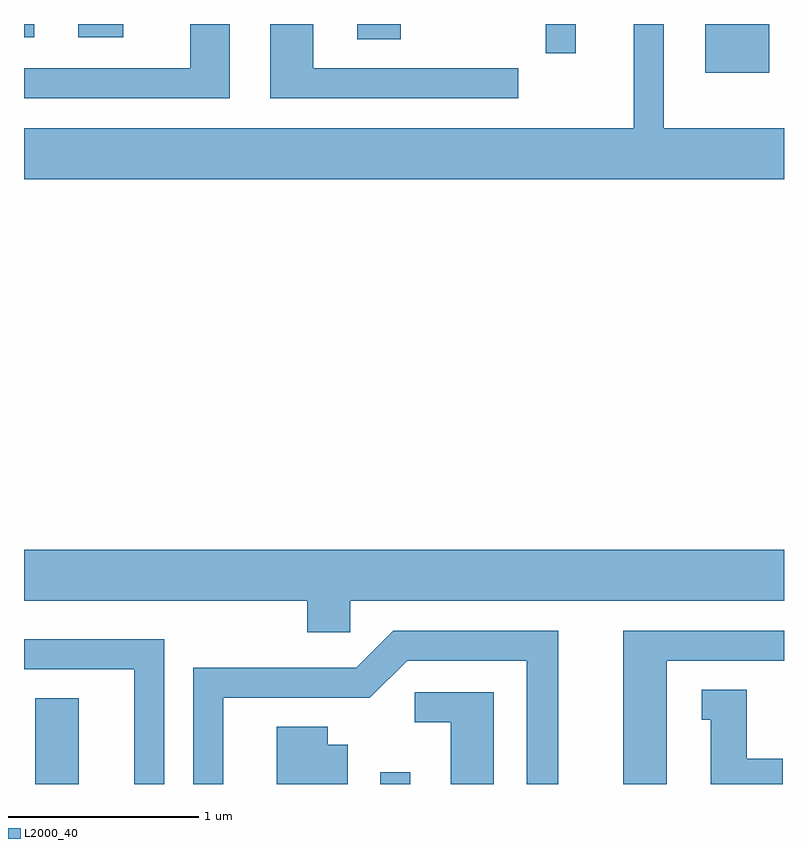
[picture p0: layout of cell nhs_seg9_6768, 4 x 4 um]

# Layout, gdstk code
import gdstk
lib = gdstk.Library(unit=1e-6, precision=1e-09)
def R(c, l, rs):  # rectangles x0, y0, x1, y1
    for r in rs: c.add(gdstk.rectangle(r[:2], r[2:], *l))
def P(c, l, *ps):  # polygons
    for p in ps: c.add(gdstk.Polygon(p, *l))
L2000_40 = (2000, 40)

nhs_seg9_6768 = lib.new_cell('nhs_seg9_6768')
R(nhs_seg9_6768, L2000_40, [(385.671,1966.432,385.899,1966.884), (387.486,1966.432,387.644,1966.493), (389.196,1970.176,389.534,1970.432), (387.366,1970.351,387.594,1970.432), (385.611,1970.361,385.664,1970.432), (385.896,1970.361,386.133,1970.432)])
P(nhs_seg9_6768, L2000_40, [(386.694,1970.432),(386.486,1970.432),(386.486,1970.199),(385.611,1970.199),(385.611,1970.041),(386.694,1970.041)],
  [(388.514,1970.432),(387.746,1970.432),(387.746,1970.431),(388.356,1970.431),(388.356,1970.278),(388.514,1970.278)],
  [(388.213,1970.199),(387.134,1970.199),(387.134,1970.432),(386.906,1970.432),(386.906,1970.041),(388.213,1970.041)],
  [(389.611,1969.884),(388.979,1969.884),(388.979,1970.432),(388.821,1970.432),(388.821,1969.884),(385.611,1969.884),(385.611,1969.616),(389.611,1969.616)],
  [(387.329,1967.396),(389.611,1967.396),(389.611,1967.664),(385.611,1967.664),(385.611,1967.396),(387.101,1967.396),(387.101,1967.231),(387.329,1967.231)],
  [(386.659,1966.886),(387.432,1966.886),(387.627,1967.081),(388.256,1967.081),(388.256,1966.432),(388.424,1966.432),(388.424,1967.239),(387.554,1967.239),(387.359,1967.044),(386.501,1967.044),(386.501,1966.432),(386.659,1966.432)],
  [(388.994,1967.081),(389.611,1967.081),(389.611,1967.239),(388.766,1967.239),(388.766,1966.432),(388.994,1966.432)],
  [(386.349,1967.194),(385.611,1967.194),(385.611,1967.036),(386.191,1967.036),(386.191,1966.432),(386.349,1966.432)],
  [(389.604,1966.564),(389.414,1966.564),(389.414,1966.929),(389.178,1966.929),(389.178,1966.771),(389.226,1966.771),(389.226,1966.432),(389.604,1966.432)],
  [(388.084,1966.914),(387.668,1966.914),(387.668,1966.756),(387.856,1966.756),(387.856,1966.432),(388.084,1966.432)],
  [(387.314,1966.639),(387.209,1966.639),(387.209,1966.734),(386.941,1966.734),(386.941,1966.432),(387.314,1966.432)])

lib.write_gds('nhs_seg9_6768.gds')
